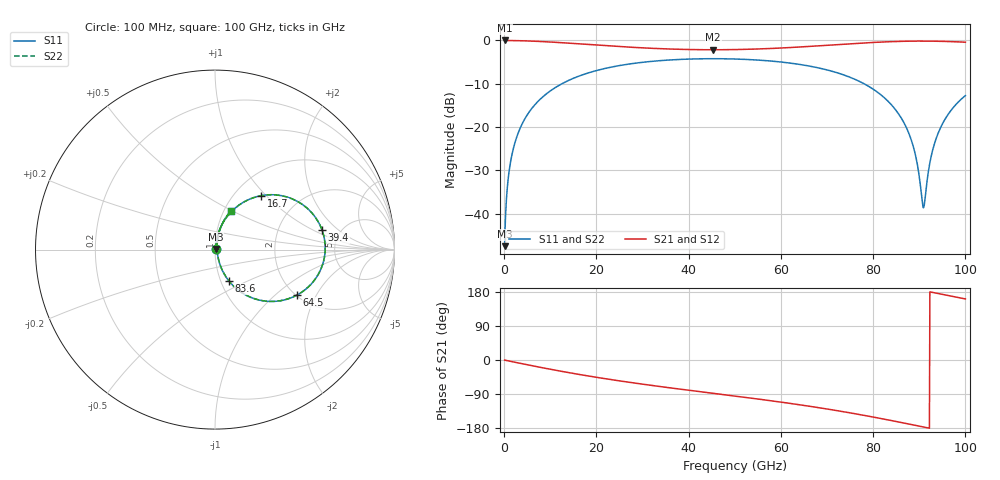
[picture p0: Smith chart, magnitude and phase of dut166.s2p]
! Touchstone file exported from HFSS 2026.1.0
!  File:  C:/ffzhzh/LocalFiles/Ansys_Project_Files/temp_train_RDL_166_1783500159_44152.aedt
!  Generated:  04:44:08 PM Jul  8, 2026
!  Design:  RDL
!  Project:  temp_train_RDL_166_1783500159_44152
! Variables:
!  h_bsmrdl = 2um
!  h_ox = 20um
!  h_rdl = 5um
!  h_sub = 80um
!  h_tmrdl = 3.91um
!  h_tsv = 80um
!  h_via = 3um
!  l_bsmrdl = 300um
!  l_sub = 1045.41um
!  l_tmrdl = 645.41um
!  m_sub = 200um
!  pitch = 55.4um
!  r_tsv = 6um
!  s_tmrdl = 10um
!  w_bsmrdl = 18um
!  w_sub = 500um
!  w_tmrdl = 21.1um
!  x_tsv_center1 = 655.96um
!  x_tsv_center2 = 973.96um
!  x_tsv_center3 = 1640.47um
!  x_tsv_center4 = 1958.47um
!  x_tsv_center5 = 2624.98um
!  x_tsv_center6 = 2942.98um
# GHz S MA R 50.000000
! Terminal data exported
! Port[1] = TM_RDL1_1_T1
! Port[2] = TM_RDL1_1_T2
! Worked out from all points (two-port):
!   1000 points, 100 MHz to 100 GHz, reference 50 ohm
!   highest |S21| = -0.03 dB at 100 MHz (marker M1); lowest = -2.2 dB at 45.3 GHz (marker M2)
!   |S21| within 3 dB of the highest: start of sweep to end of sweep
!   lowest |S11| = -47.5 dB at 100 MHz (marker M3), VSWR 1.01, Z = 50.3 + j0.304 ohm
!   |S11| at or under -10 dB: start of sweep to 12.55 GHz; 78 GHz to end of sweep
!   |S22| runs from -47.5 to -4.2 dB; largest |S21 - S12| = 1.8e-14
!   S11 on the Smith chart (normalised r, x): 100 MHz: 1.01, +0.01; 16.7 GHz: 1.31, +0.94; 39.4 GHz: 3.62, +1.25; 64.5 GHz: 2.03, -1.41; 83.6 GHz: 1.09, -0.39; 100 GHz: 1.08, +0.49
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0.1  0.004221 45.6  0.9971 -0.3  0.9971 -0.3  0.004221 45.6
! Gamma 0 0 0 0
! Port Impedance 50 0 50 0
0.8  0.02316 79.1  0.9962 -2.0  0.9962 -2.0  0.02316 79.1
1.4  0.03987 81.0  0.9954 -3.6  0.9954 -3.6  0.03987 81.0
4  0.1113 77.2  0.9886 -10.1  0.9886 -10.1  0.1113 77.2
8.9  0.2353 66.2  0.9638 -21.9  0.9638 -21.9  0.2353 66.2
16.7  0.3952 49.5  0.9083 -39.0  0.9083 -39.0  0.3952 49.5
16.8  0.397 49.3  0.9075 -39.2  0.9075 -39.2  0.397 49.3
33.4  0.5809 19.7  0.8034 -69.4  0.8034 -69.4  0.5809 19.7
39.4  0.6062 10.4  0.785 -78.9  0.785 -78.9  0.6061 10.4
45.3  0.6142 1.5  0.7789 -87.9  0.7789 -87.9  0.6141 1.5
50.1  0.6089 -5.7  0.7829 -95.3  0.7829 -95.3  0.6089 -5.7
64.5  0.523 -28.9  0.8405 -119.0  0.8405 -119.0  0.5229 -28.9
66.7  0.4988 -32.8  0.8544 -123.0  0.8544 -123.0  0.4987 -32.8
76.5  0.3464 -51.7  0.9231 -142.7  0.9231 -142.7  0.3463 -51.7
83.4  0.1943 -65.8  0.9637 -158.5  0.9637 -158.5  0.1943 -65.7
83.6  0.1895 -66.2  0.9645 -159.0  0.9645 -159.0  0.1894 -66.1
88.2  0.07264 -71.5  0.9786 -170.1  0.9786 -170.1  0.07262 -71.2
89.3  0.04423 -68.1  0.9799 -172.8  0.9799 -172.8  0.04425 -67.6
90.9  0.01171 1.7  0.9804 -176.8  0.9804 -176.8  0.01209 2.1
92.6  0.04634 73.8  0.979 179.0  0.979 179.0  0.04652 73.4
94.1  0.085 76.9  0.9761 175.4  0.9761 175.4  0.08513 76.7
100  0.2305 68.0  0.952 161.2  0.952 161.2  0.2306 67.9
